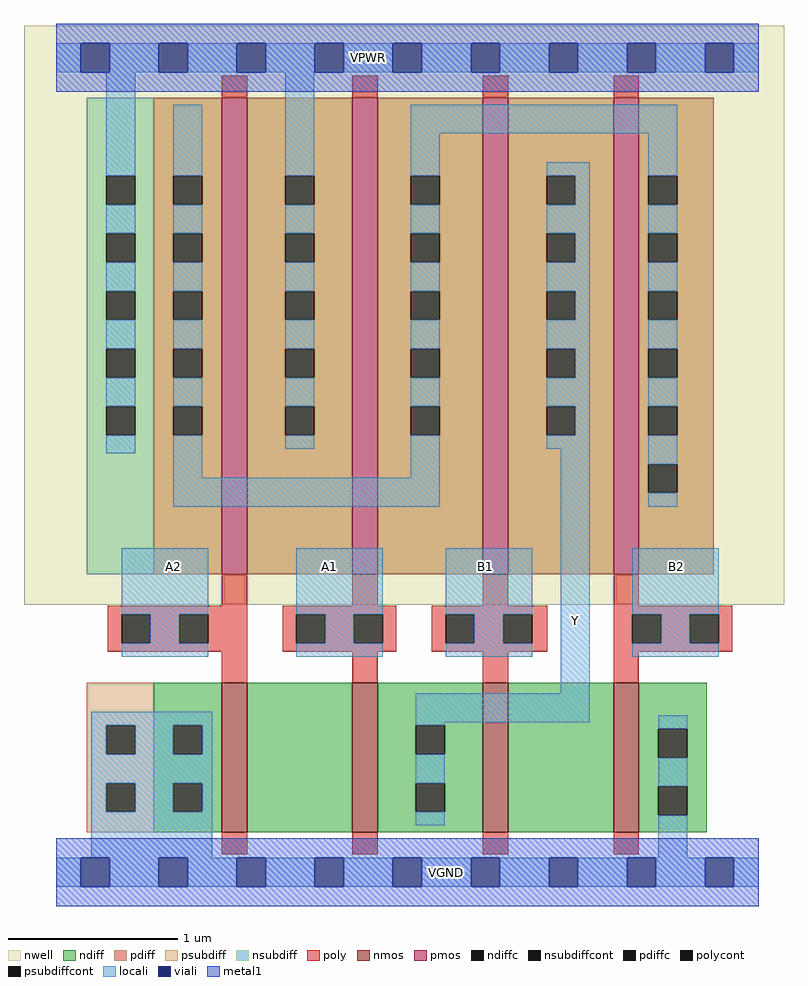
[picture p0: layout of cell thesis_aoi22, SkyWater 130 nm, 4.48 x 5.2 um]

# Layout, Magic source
magic
tech sky130A
magscale 1 2
<< nwell >>
rect -38 315 858 998
<< nmos >>
rect 195 47 225 223
rect 349 47 379 223
rect 503 47 533 223
rect 657 47 687 223
<< pmos >>
rect 195 351 225 913
rect 349 351 379 913
rect 503 351 533 913
rect 657 351 687 913
<< ndiff >>
rect 115 173 195 223
rect 115 139 138 173
rect 172 139 195 173
rect 115 105 195 139
rect 115 71 138 105
rect 172 71 195 105
rect 115 47 195 71
rect 225 47 349 223
rect 379 173 503 223
rect 379 139 424 173
rect 458 139 503 173
rect 379 105 503 139
rect 379 71 424 105
rect 458 71 503 105
rect 379 47 503 71
rect 533 47 657 223
rect 687 169 767 223
rect 687 135 710 169
rect 744 135 767 169
rect 687 101 767 135
rect 687 67 710 101
rect 744 67 767 101
rect 687 47 767 67
<< pdiff >>
rect 115 821 195 913
rect 115 787 138 821
rect 172 787 195 821
rect 115 753 195 787
rect 115 719 138 753
rect 172 719 195 753
rect 115 685 195 719
rect 115 651 138 685
rect 172 651 195 685
rect 115 617 195 651
rect 115 583 138 617
rect 172 583 195 617
rect 115 549 195 583
rect 115 515 138 549
rect 172 515 195 549
rect 115 351 195 515
rect 225 821 349 913
rect 225 787 270 821
rect 304 787 349 821
rect 225 753 349 787
rect 225 719 270 753
rect 304 719 349 753
rect 225 685 349 719
rect 225 651 270 685
rect 304 651 349 685
rect 225 617 349 651
rect 225 583 270 617
rect 304 583 349 617
rect 225 549 349 583
rect 225 515 270 549
rect 304 515 349 549
rect 225 351 349 515
rect 379 821 503 913
rect 379 787 418 821
rect 452 787 503 821
rect 379 753 503 787
rect 379 719 418 753
rect 452 719 503 753
rect 379 685 503 719
rect 379 651 418 685
rect 452 651 503 685
rect 379 617 503 651
rect 379 583 418 617
rect 452 583 503 617
rect 379 549 503 583
rect 379 515 418 549
rect 452 515 503 549
rect 379 351 503 515
rect 533 821 657 913
rect 533 787 578 821
rect 612 787 657 821
rect 533 753 657 787
rect 533 719 578 753
rect 612 719 657 753
rect 533 685 657 719
rect 533 651 578 685
rect 612 651 657 685
rect 533 617 657 651
rect 533 583 578 617
rect 612 583 657 617
rect 533 549 657 583
rect 533 515 578 549
rect 612 515 657 549
rect 533 351 657 515
rect 687 821 775 913
rect 687 787 698 821
rect 732 787 775 821
rect 687 753 775 787
rect 687 719 698 753
rect 732 719 775 753
rect 687 685 775 719
rect 687 651 698 685
rect 732 651 775 685
rect 687 617 775 651
rect 687 583 698 617
rect 732 583 775 617
rect 687 549 775 583
rect 687 515 698 549
rect 732 515 775 549
rect 687 481 775 515
rect 687 447 698 481
rect 732 447 775 481
rect 687 351 775 447
<< ndiffc >>
rect 138 139 172 173
rect 138 71 172 105
rect 424 139 458 173
rect 424 71 458 105
rect 710 135 744 169
rect 710 67 744 101
<< pdiffc >>
rect 138 787 172 821
rect 138 719 172 753
rect 138 651 172 685
rect 138 583 172 617
rect 138 515 172 549
rect 270 787 304 821
rect 270 719 304 753
rect 270 651 304 685
rect 270 583 304 617
rect 270 515 304 549
rect 418 787 452 821
rect 418 719 452 753
rect 418 651 452 685
rect 418 583 452 617
rect 418 515 452 549
rect 578 787 612 821
rect 578 719 612 753
rect 578 651 612 685
rect 578 583 612 617
rect 578 515 612 549
rect 698 787 732 821
rect 698 719 732 753
rect 698 651 732 685
rect 698 583 732 617
rect 698 515 732 549
rect 698 447 732 481
<< psubdiff >>
rect 36 173 115 223
rect 36 139 59 173
rect 93 139 115 173
rect 36 105 115 139
rect 36 71 59 105
rect 93 71 115 105
rect 36 47 115 71
<< nsubdiff >>
rect 36 821 115 913
rect 36 787 59 821
rect 93 787 115 821
rect 36 753 115 787
rect 36 719 59 753
rect 93 719 115 753
rect 36 685 115 719
rect 36 651 59 685
rect 93 651 115 685
rect 36 617 115 651
rect 36 583 59 617
rect 93 583 115 617
rect 36 549 115 583
rect 36 515 59 549
rect 93 515 115 549
rect 36 351 115 515
<< psubdiffcont >>
rect 59 139 93 173
rect 59 71 93 105
<< nsubdiffcont >>
rect 59 787 93 821
rect 59 719 93 753
rect 59 651 93 685
rect 59 583 93 617
rect 59 515 93 549
<< poly >>
rect 195 913 225 939
rect 349 913 379 939
rect 503 913 533 939
rect 657 913 687 939
rect 195 314 225 351
rect 349 314 379 351
rect 503 314 533 351
rect 657 314 687 351
rect 61 304 225 314
rect 61 270 77 304
rect 111 270 145 304
rect 179 270 225 304
rect 61 260 225 270
rect 267 304 401 314
rect 267 270 283 304
rect 317 270 351 304
rect 385 270 401 304
rect 267 260 401 270
rect 443 304 579 314
rect 443 270 459 304
rect 493 270 527 304
rect 561 270 579 304
rect 443 260 579 270
rect 657 304 797 314
rect 657 270 679 304
rect 713 270 747 304
rect 781 270 797 304
rect 657 260 797 270
rect 195 223 225 260
rect 349 223 379 260
rect 503 223 533 260
rect 657 223 687 260
rect 195 21 225 47
rect 349 21 379 47
rect 503 21 533 47
rect 657 21 687 47
<< polycont >>
rect 77 270 111 304
rect 145 270 179 304
rect 283 270 317 304
rect 351 270 385 304
rect 459 270 493 304
rect 527 270 561 304
rect 679 270 713 304
rect 747 270 781 304
<< locali >>
rect 0 943 29 977
rect 63 943 121 977
rect 155 943 213 977
rect 247 943 305 977
rect 339 943 397 977
rect 431 943 489 977
rect 523 943 581 977
rect 615 943 673 977
rect 707 943 765 977
rect 799 943 828 977
rect 59 821 93 943
rect 59 753 93 787
rect 59 685 93 719
rect 59 617 93 651
rect 59 549 93 583
rect 59 494 93 515
rect 138 821 172 905
rect 138 753 172 787
rect 138 685 172 719
rect 138 617 172 651
rect 138 549 172 583
rect 138 465 172 515
rect 270 821 304 943
rect 270 753 304 787
rect 270 685 304 719
rect 270 617 304 651
rect 270 549 304 583
rect 270 499 304 515
rect 418 871 732 905
rect 418 821 452 871
rect 418 753 452 787
rect 418 685 452 719
rect 418 617 452 651
rect 418 549 452 583
rect 418 465 452 515
rect 578 821 629 837
rect 612 787 629 821
rect 578 753 629 787
rect 612 719 629 753
rect 578 685 629 719
rect 612 651 629 685
rect 578 617 629 651
rect 612 583 629 617
rect 578 549 629 583
rect 612 515 629 549
rect 578 499 629 515
rect 138 431 452 465
rect 77 304 179 382
rect 111 270 145 304
rect 77 254 179 270
rect 283 304 385 382
rect 317 270 351 304
rect 283 254 385 270
rect 459 304 561 382
rect 493 270 527 304
rect 459 254 561 270
rect 595 211 629 499
rect 698 821 732 871
rect 698 753 732 787
rect 698 685 732 719
rect 698 617 732 651
rect 698 549 732 583
rect 698 481 732 515
rect 698 431 732 447
rect 679 304 781 382
rect 713 270 747 304
rect 679 254 781 270
rect 41 173 184 189
rect 41 139 59 173
rect 93 139 138 173
rect 172 139 184 173
rect 41 105 184 139
rect 41 71 59 105
rect 93 71 138 105
rect 172 71 184 105
rect 41 17 184 71
rect 424 177 629 211
rect 424 173 458 177
rect 424 105 458 139
rect 424 55 458 71
rect 710 169 744 185
rect 710 101 744 135
rect 710 17 744 67
rect 0 -17 29 17
rect 63 -17 121 17
rect 155 -17 213 17
rect 247 -17 305 17
rect 339 -17 397 17
rect 431 -17 489 17
rect 523 -17 581 17
rect 615 -17 673 17
rect 707 -17 765 17
rect 799 -17 828 17
<< viali >>
rect 29 943 63 977
rect 121 943 155 977
rect 213 943 247 977
rect 305 943 339 977
rect 397 943 431 977
rect 489 943 523 977
rect 581 943 615 977
rect 673 943 707 977
rect 765 943 799 977
rect 29 -17 63 17
rect 121 -17 155 17
rect 213 -17 247 17
rect 305 -17 339 17
rect 397 -17 431 17
rect 489 -17 523 17
rect 581 -17 615 17
rect 673 -17 707 17
rect 765 -17 799 17
<< metal1 >>
rect 0 977 828 1000
rect 0 943 29 977
rect 63 943 121 977
rect 155 943 213 977
rect 247 943 305 977
rect 339 943 397 977
rect 431 943 489 977
rect 523 943 581 977
rect 615 943 673 977
rect 707 943 765 977
rect 799 943 828 977
rect 0 920 828 943
rect 0 17 828 40
rect 0 -17 29 17
rect 63 -17 121 17
rect 155 -17 213 17
rect 247 -17 305 17
rect 339 -17 397 17
rect 431 -17 489 17
rect 523 -17 581 17
rect 615 -17 673 17
rect 707 -17 765 17
rect 799 -17 828 17
rect 0 -40 828 -17
<< labels >>
flabel locali s 121 343 155 377 0 FreeSans 240 0 0 0 A2
port 0 nsew signal input
flabel locali s 305 343 339 377 0 FreeSans 240 0 0 0 A1
port 1 nsew signal input
flabel locali s 489 343 523 377 0 FreeSans 240 0 0 0 B1
port 2 nsew signal input
flabel locali s 714 343 748 377 0 FreeSans 240 0 0 0 B2
port 3 nsew signal input
flabel locali s 595 280 629 314 0 FreeSans 240 0 0 0 Y
port 4 nsew signal output
flabel metal1 s 339 943 397 977 0 FreeSans 240 0 0 0 VPWR
port 5 nsew power bidirectional
flabel metal1 s 431 -17 489 17 0 FreeSans 240 0 0 0 VGND
port 6 nsew ground bidirectional
<< properties >>
string FIXED_BBOX 0 0 828 960
string LEFclass CORE
string LEForigin 0 0
<< end >>
